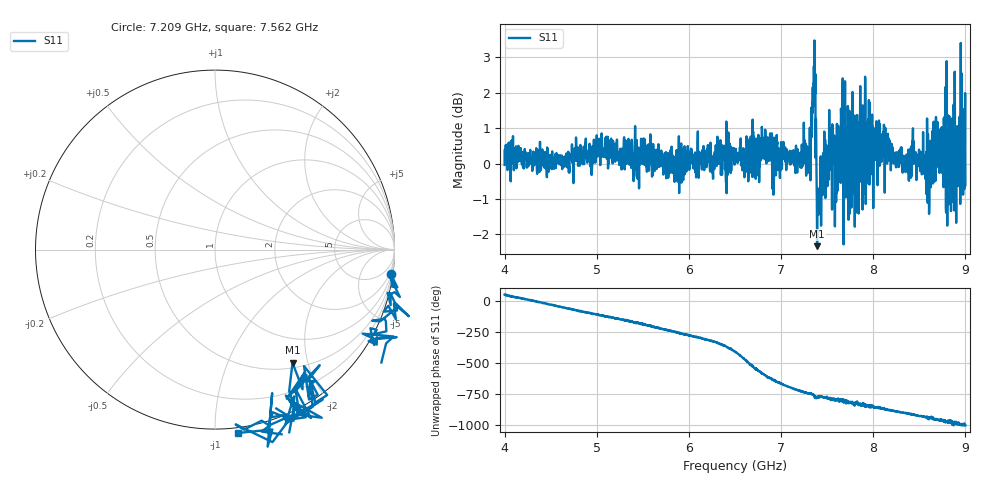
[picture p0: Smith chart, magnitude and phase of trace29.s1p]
! Created with skrf 1.8.0 (http://scikit-rf.org).
# Hz S RI R 50.0
!freq ReS11 ImS11
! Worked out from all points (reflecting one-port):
!   1601 points, 4 GHz to 9 GHz, reference 50 ohm
!   lowest |S11| = -2.3 dB at 7.391 GHz (marker M1), VSWR 7.48, Z = 28.9 - j87.5 ohm
!   phase of S11 starts at 51 deg and turns -1058 deg over the sweep
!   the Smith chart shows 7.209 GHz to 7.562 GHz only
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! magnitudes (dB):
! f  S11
! 4 GHz  0.0
! 4.625 GHz  -0.2
! 5.25 GHz  0.0
! 5.875 GHz  0.2
! 6.5 GHz  0.1
! 7.125 GHz  0.3
! 7.294 GHz  -0.3
! 7.347 GHz  1.6
! 7.362 GHz  3.5
! 7.391 GHz  -2.3
! 7.412 GHz  -0.8
! 7.475 GHz  -0.5
! 7.609 GHz  -0.4
! 7.669 GHz  2.4
! 7.697 GHz  -0.4
! 7.75 GHz  -0.7
! 7.928 GHz  0.1
! 7.981 GHz  -0.1
! 8.097 GHz  0.2
! 8.375 GHz  0.3
! 8.438 GHz  0.6
! 8.584 GHz  1.3
! 8.656 GHz  1.2
! 8.8 GHz  0.5
! 8.856 GHz  -0.5
! 8.919 GHz  -0.3
! 8.956 GHz  0.3
! 9 GHz  -0.6
